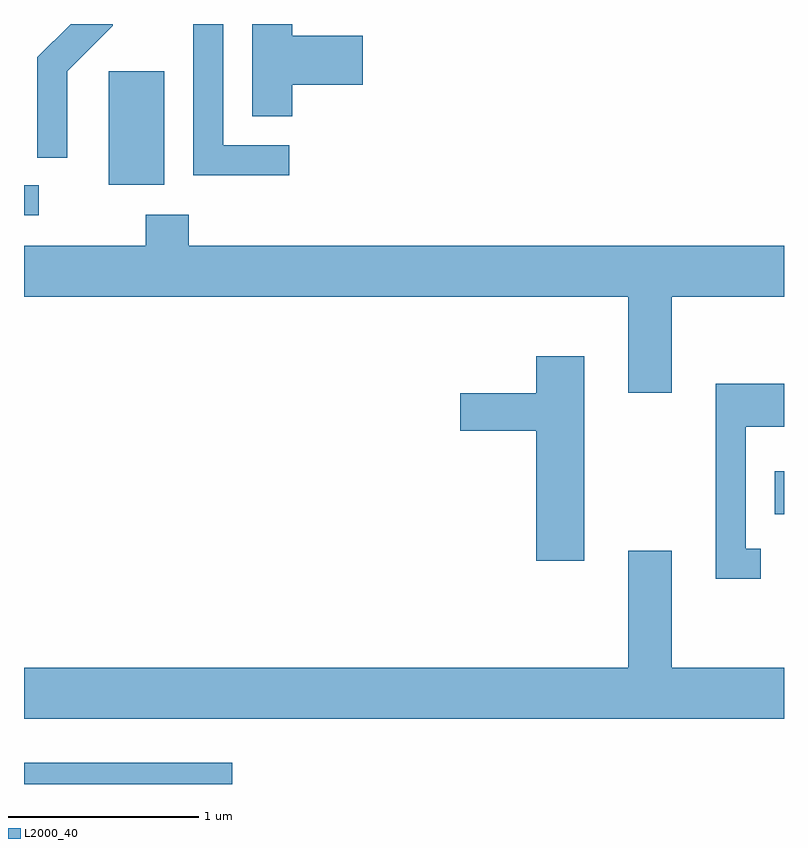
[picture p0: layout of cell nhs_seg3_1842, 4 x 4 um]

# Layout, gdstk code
import gdstk
lib = gdstk.Library(unit=1e-6, precision=1e-09)
def R(c, l, rs):  # rectangles x0, y0, x1, y1
    for r in rs: c.add(gdstk.rectangle(r[:2], r[2:], *l))
def P(c, l, *ps):  # polygons
    for p in ps: c.add(gdstk.Polygon(p, *l))
L2000_40 = (2000, 40)

nhs_seg3_1842 = lib.new_cell('nhs_seg3_1842')
R(nhs_seg3_1842, L2000_40, [(239.611,1127.892,240.708,1128.004), (243.561,1129.311,243.611,1129.539), (239.611,1130.886,239.688,1131.044), (240.056,1131.046,240.349,1131.644)])
P(nhs_seg3_1842, L2000_40, [(239.839,1131.644),(240.079,1131.884),(240.079,1131.892),(239.856,1131.892),(239.681,1131.717),(239.681,1131.188),(239.839,1131.188)],
  [(241.008,1131.254),(240.659,1131.254),(240.659,1131.892),(240.501,1131.892),(240.501,1131.096),(241.008,1131.096)],
  [(241.024,1131.571),(241.394,1131.571),(241.394,1131.829),(241.024,1131.829),(241.024,1131.892),(240.811,1131.892),(240.811,1131.406),(241.024,1131.406)],
  [(243.019,1130.456),(243.611,1130.456),(243.611,1130.724),(240.479,1130.724),(240.479,1130.889),(240.251,1130.889),(240.251,1130.724),(239.611,1130.724),(239.611,1130.456),(242.791,1130.456),(242.791,1129.951),(243.019,1129.951)],
  [(242.559,1130.144),(242.306,1130.144),(242.306,1129.949),(241.906,1129.949),(241.906,1129.751),(242.306,1129.751),(242.306,1129.066),(242.559,1129.066)],
  [(243.488,1129.129),(243.409,1129.129),(243.409,1129.771),(243.611,1129.771),(243.611,1129.999),(243.251,1129.999),(243.251,1128.971),(243.488,1128.971)],
  [(243.611,1128.504),(243.019,1128.504),(243.019,1129.119),(242.791,1129.119),(242.791,1128.504),(239.611,1128.504),(239.611,1128.236),(243.611,1128.236)])

lib.write_gds('nhs_seg3_1842.gds')
